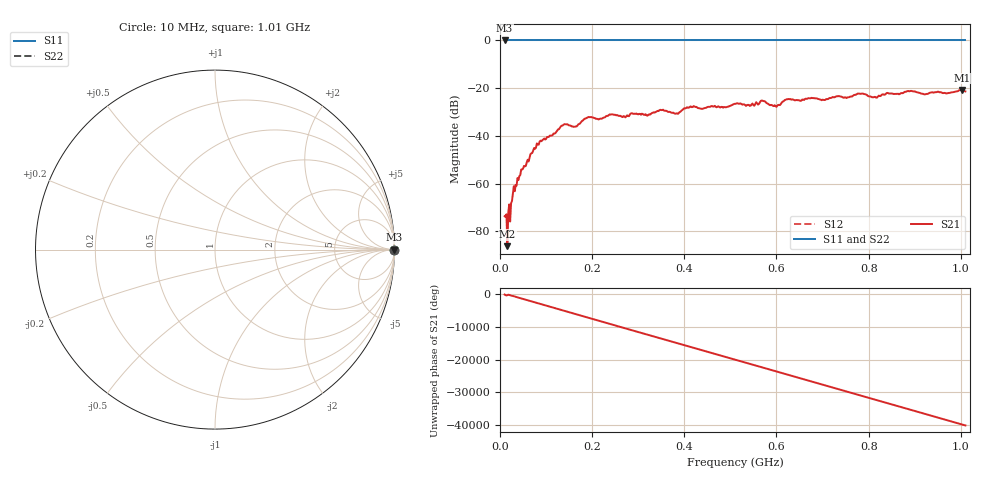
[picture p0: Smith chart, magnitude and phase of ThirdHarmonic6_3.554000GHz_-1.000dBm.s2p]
! 8/17/2025 11:44:20 AM
! C:\ANRITSUVNA\TEMP\TEMP.S2P
! CHANNEL.1
! TR.MEASUREMENT
! RAW.DATA
! RF.CORRECTION.OFF
! AVERAGING.OFF
! IF.BANDWIDTH: 5KHZ
! SWEEPTYPE:  FREQ.SWEEP(Linear)
! Reference Plane Port Info
! PORT:  PORT1  PORT2
! DISTANCE:  0  m  0  m
! TIME:  0  s  0  s
! PHASE.OFFSET:  0  deg.  0  deg.
! LOSS:  0  dB  0  dB
! REF.LOSS:  0  dB  0  dB
! REF.FREQ:  0  Hz  0  Hz
! Power Info
! POWER:  -20  dBm  -20  dBm
! EFF.POWER:  -20  dBm  -20  dBm
! SOURCE.ATTEN:  0  dB  0  dB
! TEST.ATTEN:  0  dB  0  dB
# GHZ S RI R 50.0
! FREQ.GHZ  S11RE  S11IM  S21RE  S21IM  S12RE  S12IM  S22RE  S22IM
!; PortSelection: Port_12
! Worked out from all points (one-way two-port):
!   501 points, 10 MHz to 1.01 GHz, reference 50 ohm
!   highest |S21| = -20.70 dB at 1.002 GHz (marker M1); lowest = -86.3 dB at 16 MHz (marker M2)
!   lowest |S11| = 0.0 dB at 10 MHz (marker M3)
!   |S11| at or under -10 dB: nowhere
!   |S22| runs from 0.0 to 0.0 dB; largest |S21 - S12| = 1.1
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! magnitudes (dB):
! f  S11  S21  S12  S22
! 10 MHz  0.0  -73.7  0.0  0.0
! 16 MHz  0.0  -86.3  0.0  0.0
! 20 MHz  0.0  -68.7  0.0  0.0
! 30 MHz  0.0  -61.1  0.0  0.0
! 42 MHz  0.0  -56.9  0.0  0.0
! 84 MHz  0.0  -43.7  0.0  0.0
! 136 MHz  0.0  -35.7  0.0  0.0
! 164 MHz  0.0  -36.1  0.0  0.0
! 178 MHz  0.0  -33.8  0.0  0.0
! 344 MHz  0.0  -29.6  0.0  0.0
! 384 MHz  0.0  -30.6  0.0  0.0
! 416 MHz  0.0  -28.0  0.0  0.0
! 510 MHz  0.0  -26.6  0.0  0.0
! 570 MHz  0.0  -25.3  0.0  0.0
! 598 MHz  0.0  -27.6  0.0  0.0
! 622 MHz  0.0  -24.7  0.0  0.0
! 678 MHz  0.0  -24.1  0.0  0.0
! 782 MHz  0.0  -22.4  0.0  0.0
! 814 MHz  0.0  -23.6  0.0  0.0
! 844 MHz  0.0  -22.2  0.0  0.0
! 1.002 GHz  0.0  -20.7  0.0  0.0
! 1.01 GHz  0.0  -21.4  0.0  0.0
